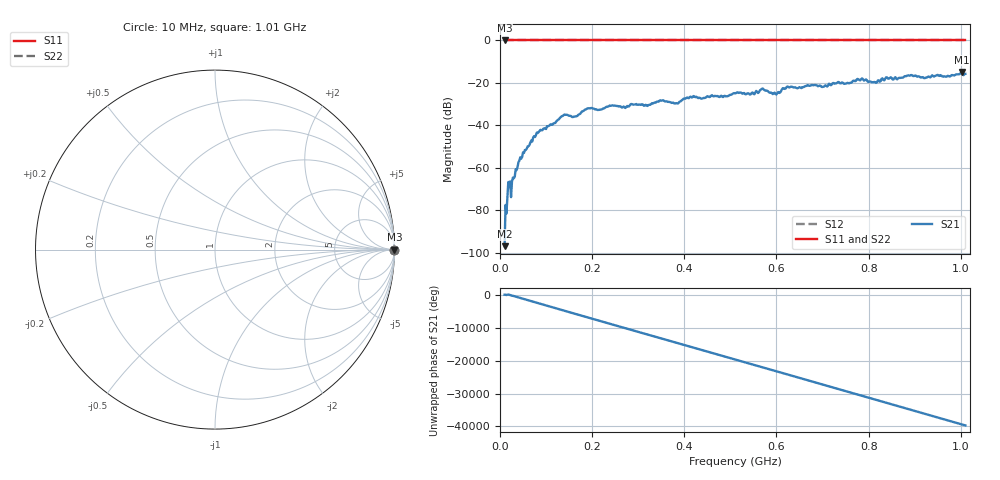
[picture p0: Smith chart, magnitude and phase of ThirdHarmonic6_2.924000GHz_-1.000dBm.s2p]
! 8/17/2025 8:08:52 AM
! C:\ANRITSUVNA\TEMP\TEMP.S2P
! CHANNEL.1
! TR.MEASUREMENT
! RAW.DATA
! RF.CORRECTION.OFF
! AVERAGING.OFF
! IF.BANDWIDTH: 5KHZ
! SWEEPTYPE:  FREQ.SWEEP(Linear)
! Reference Plane Port Info
! PORT:  PORT1  PORT2
! DISTANCE:  0  m  0  m
! TIME:  0  s  0  s
! PHASE.OFFSET:  0  deg.  0  deg.
! LOSS:  0  dB  0  dB
! REF.LOSS:  0  dB  0  dB
! REF.FREQ:  0  Hz  0  Hz
! Power Info
! POWER:  -20  dBm  -20  dBm
! EFF.POWER:  -20  dBm  -20  dBm
! SOURCE.ATTEN:  0  dB  0  dB
! TEST.ATTEN:  0  dB  0  dB
# GHZ S RI R 50.0
! FREQ.GHZ  S11RE  S11IM  S21RE  S21IM  S12RE  S12IM  S22RE  S22IM
!; PortSelection: Port_12
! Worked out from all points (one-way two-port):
!   501 points, 10 MHz to 1.01 GHz, reference 50 ohm
!   highest |S21| = -14.88 dB at 1.002 GHz (marker M1); lowest = -97.0 dB at 10 MHz (marker M2)
!   lowest |S11| = 0.0 dB at 10 MHz (marker M3)
!   |S11| at or under -10 dB: nowhere
!   |S22| runs from 0.0 to 0.0 dB; largest |S21 - S12| = 1.2
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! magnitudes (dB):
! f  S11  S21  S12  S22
! 10 MHz  0.0  -97.0  0.0  0.0
! 18 MHz  0.0  -66.7  0.0  0.0
! 28 MHz  0.0  -64.7  0.0  0.0
! 42 MHz  0.0  -56.7  0.0  0.0
! 76 MHz  0.0  -45.5  0.0  0.0
! 136 MHz  0.0  -35.6  0.0  0.0
! 162 MHz  0.0  -35.9  0.0  0.0
! 178 MHz  0.0  -33.4  0.0  0.0
! 344 MHz  0.0  -28.9  0.0  0.0
! 382 MHz  0.0  -29.5  0.0  0.0
! 416 MHz  0.0  -26.9  0.0  0.0
! 510 MHz  0.0  -24.9  0.0  0.0
! 548 MHz  0.0  -24.5  0.0  0.0
! 570 MHz  0.0  -22.6  0.0  0.0
! 596 MHz  0.0  -24.6  0.0  0.0
! 626 MHz  0.0  -22.0  0.0  0.0
! 678 MHz  0.0  -21.0  0.0  0.0
! 782 MHz  0.0  -18.8  0.0  0.0
! 814 MHz  0.0  -19.6  0.0  0.0
! 844 MHz  0.0  -18.0  0.0  0.0
! 1.002 GHz  0.0  -14.9  0.0  0.0
! 1.01 GHz  0.0  -15.8  0.0  0.0
